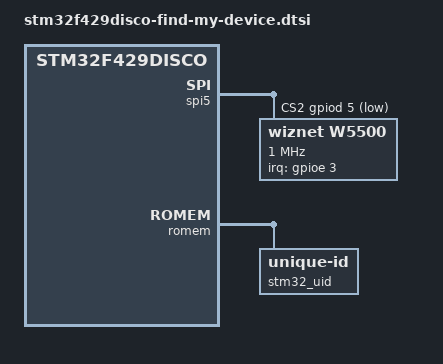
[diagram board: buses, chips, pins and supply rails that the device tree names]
/*
 * Conflict-free W5500 wiring for the STM32F429I-DISC1 expansion headers.
 *
 * SPI5: PF7=SCK, PF8=MISO, PF9=MOSI
 * GPIO: PD5=nSCS, PE3=nINT
 *
 * SPI5 is already used by the onboard gyroscope (CS0) and LCD controller
 * (CS1); W5500 uses CS2 on PD5, optional SPI-NAND uses CS3 on PG3, and
 * optional CY15B256Q FRAM or W25Q128FV SPI-NOR uses CS4 on PG2.
 * Keeping these devices off SPI4 isolates them from SD adapters whose level
 * shifters do not release MISO while deselected.
*/

/* The stock SPI5 state is tuned for short onboard traces. External fan-out
 * needs stronger SCK/MOSI edges and a defined idle level on shared MISO.
 */
&spi5_pins {
	pins1 {
		slew-rate = <2>;
	};

	pins2 {
		bias-pull-up;
	};
};

&pinctrl {
	w5500_irq_pin: w5500-irq-0 {
		pins {
			pinmux = <STM32_PINMUX('E', 3, GPIO)>;
			bias-pull-up;
		};
	};
};

&spi5 {
	status = "okay";
	pinctrl-names = "default";
	pinctrl-0 = <&spi5_pins>;
	/* CS0: gyroscope; CS1: LCD; CS2: W5500; CS3: SPI-NAND. */
	cs-gpios = <&gpioc 1 GPIO_ACTIVE_LOW>,
		     <&gpioc 2 GPIO_ACTIVE_LOW>,
		     <&gpiod 5 GPIO_ACTIVE_LOW>,
		     <&gpiog 3 GPIO_ACTIVE_LOW>;

	w5500: ethernet@2 {
		compatible = "wiznet,w5500";
		reg = <2>;
		pinctrl-names = "default";
		pinctrl-0 = <&w5500_irq_pin>;
		interrupt-parent = <&gpioe>;
		interrupts = <3 IRQ_TYPE_LEVEL_LOW>;
		/* Keep the last known-working 1 MHz rate for the shared SPI5 bus and
		 * jumper-wire connection. The W5500 silicon supports higher rates,
		 * but pairing generates frequent short status transactions.
		 */
		spi-max-frequency = <1000000>;
	};
};

&romem {
	stm32_uid: unique-id@210 {
		reg = <0x210 0xc>;
	};
};
